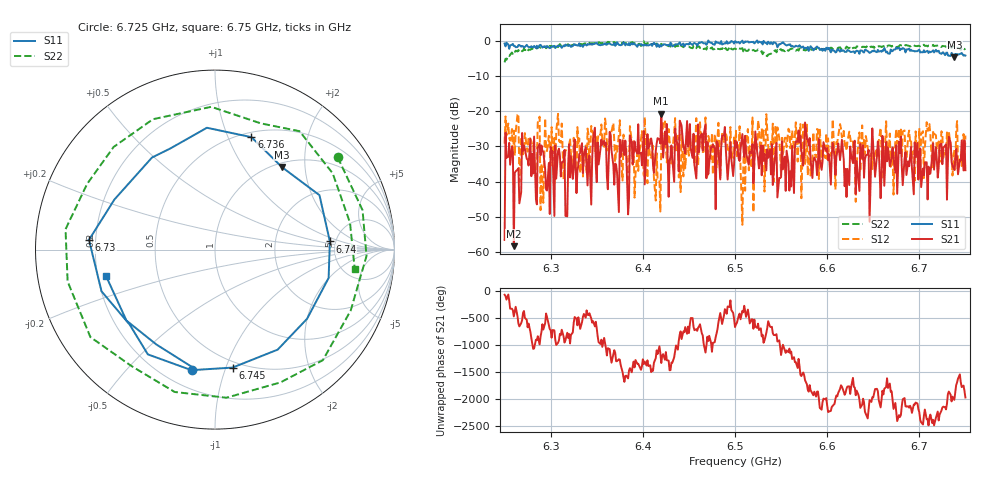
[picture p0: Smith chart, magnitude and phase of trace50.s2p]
# Hz S RI R 50
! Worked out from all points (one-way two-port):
!   401 points, 6.25 GHz to 6.75 GHz, reference 50 ohm
!   highest |S21| = -20.62 dB at 6.42 GHz (marker M1); lowest = -58.4 dB at 6.26 GHz (marker M2)
!   lowest |S11| = -4.6 dB at 6.738 GHz (marker M3), VSWR 3.90, Z = 53.7 + j76 ohm
!   |S11| at or under -10 dB: nowhere
!   |S22| runs from -6.0 to 0.0 dB; largest |S21 - S12| = 0.13
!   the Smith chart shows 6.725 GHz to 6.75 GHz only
!   S11 on the Smith chart (normalised r, x): 6.725 GHz: 0.31, -0.78; 6.73 GHz: 0.17, +0.04; 6.736 GHz: 0.55, +1.22; 6.74 GHz: 4.47, +0.69; 6.745 GHz: 0.45, -1.05; 6.75 GHz: 0.23, -0.11
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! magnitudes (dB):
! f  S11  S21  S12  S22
! 6.25 GHz  -0.7  -56.6  -29.2  -6.0
! 6.254 GHz  -1.0  -32.9  -23.5  -4.1
! 6.26 GHz  -1.4  -58.4  -25.5  -3.2
! 6.271 GHz  -1.8  -29.8  -31.5  -2.2
! 6.296 GHz  -1.4  -42.5  -31.3  -1.6
! 6.334 GHz  -1.2  -29.1  -31.8  -0.9
! 6.358 GHz  -0.8  -28.4  -30.1  -0.6
! 6.371 GHz  -1.0  -35.2  -29.8  -0.4
! 6.418 GHz  -1.7  -28.0  -39.3  -1.5
! 6.42 GHz  -1.5  -20.6  -29.4  -0.8
! 6.5 GHz  0.0  -28.3  -31.0  -2.1
! 6.509 GHz  -0.5  -30.0  -35.6  -2.9
! 6.528 GHz  -0.4  -29.7  -34.1  -2.9
! 6.584 GHz  -2.0  -39.0  -33.9  -2.3
! 6.668 GHz  -3.6  -35.6  -26.3  -1.2
! 6.725 GHz  -3.3  -35.0  -26.3  -1.4
! 6.73 GHz  -3.0  -45.1  -26.0  -1.3
! 6.736 GHz  -3.6  -35.5  -38.3  -1.4
! 6.738 GHz  -4.6  -36.7  -31.0  -1.5
! 6.74 GHz  -3.9  -30.7  -25.5  -1.9
! 6.745 GHz  -3.5  -34.1  -32.5  -2.5
! 6.75 GHz  -4.1  -36.8  -26.9  -2.1
